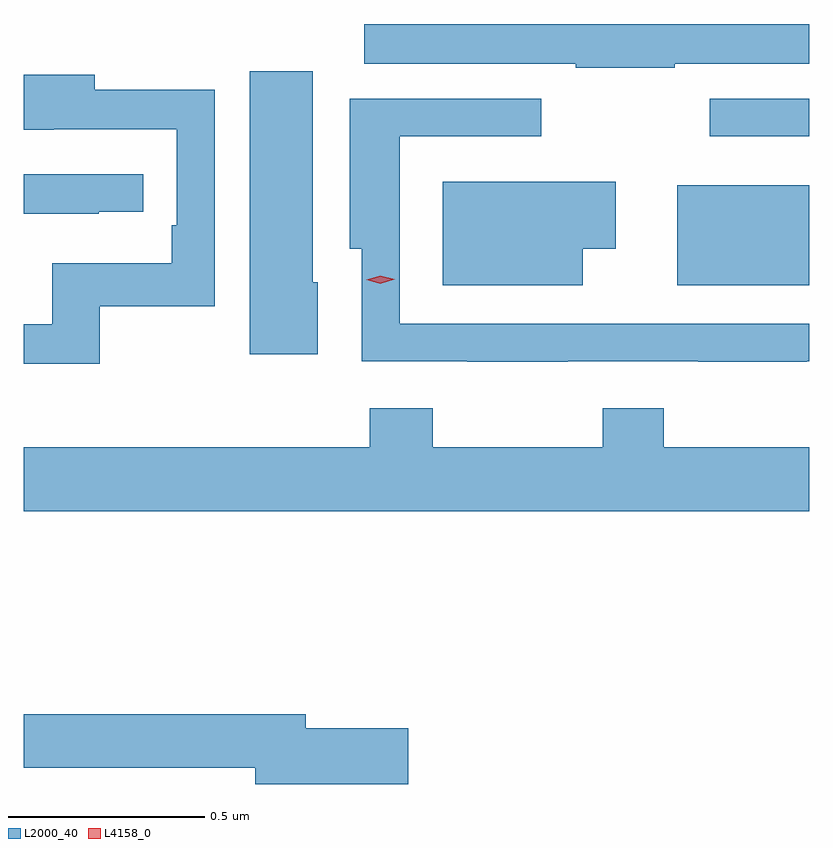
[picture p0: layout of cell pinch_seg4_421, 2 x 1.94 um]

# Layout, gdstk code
import gdstk
lib = gdstk.Library(unit=1e-6, precision=1e-09)
def R(c, l, rs):  # rectangles x0, y0, x1, y1
    for r in rs: c.add(gdstk.rectangle(r[:2], r[2:], *l))
def P(c, l, *ps):  # polygons
    for p in ps: c.add(gdstk.Polygon(p, *l))
L2000_40 = (2000, 40)
L4158_0 = (4158, 0)

pinch_seg4_421 = lib.new_cell('pinch_seg4_421')
R(pinch_seg4_421, L2000_40, [(999.362,776.084,999.698,776.338), (999.444,776.463,999.698,776.559)])
P(pinch_seg4_421, L2000_40, [(999.356,776.648),(999.698,776.648),(999.698,776.749),(998.565,776.749),(998.565,776.648),(999.103,776.648),(999.103,776.638),(999.356,776.638)],
  [(998.446,776.091),(998.434,776.091),(998.434,776.629),(998.273,776.629),(998.273,775.908),(998.446,775.908)],
  [(997.891,776.031),(998.184,776.031),(998.184,776.582),(997.879,776.582),(997.879,776.62),(997.698,776.62),(997.698,776.48),(997.775,776.48),(997.775,776.481),(998.088,776.481),(998.088,776.236),(998.075,776.236),(998.075,776.14),(997.77,776.14),(997.77,775.985),(997.698,775.985),(997.698,775.884),(997.891,775.884)],
  [(999.083,775.89),(999.415,775.89),(999.415,775.889),(999.692,775.889),(999.692,775.89),(999.698,775.89),(999.698,775.986),(998.655,775.986),(998.655,776.463),(999.016,776.463),(999.016,776.559),(998.528,776.559),(998.528,776.177),(998.559,776.177),(998.559,775.89),(998.827,775.89),(998.827,775.889),(999.083,775.889)],
  [(997.889,776.271),(998.002,776.271),(998.002,776.367),(997.698,776.367),(997.698,776.266),(997.889,776.266)],
  [(999.121,776.177),(999.205,776.177),(999.205,776.347),(998.765,776.347),(998.765,776.084),(999.121,776.084)],
  [(999.698,775.672),(999.327,775.672),(999.327,775.771),(999.172,775.771),(999.172,775.672),(998.739,775.672),(998.739,775.771),(998.579,775.771),(998.579,775.672),(997.698,775.672),(997.698,775.508),(999.698,775.508)],
  [(998.677,774.956),(998.416,774.956),(998.416,774.992),(997.698,774.992),(997.698,774.856),(998.288,774.856),(998.288,774.814),(998.677,774.814)])
P(pinch_seg4_421, L4158_0, [(998.606,776.088),(998.57,776.098),(998.57,776.098),(998.57,776.098),(998.606,776.108),(998.642,776.099),(998.642,776.099),(998.642,776.099)])

lib.write_gds('pinch_seg4_421.gds')
